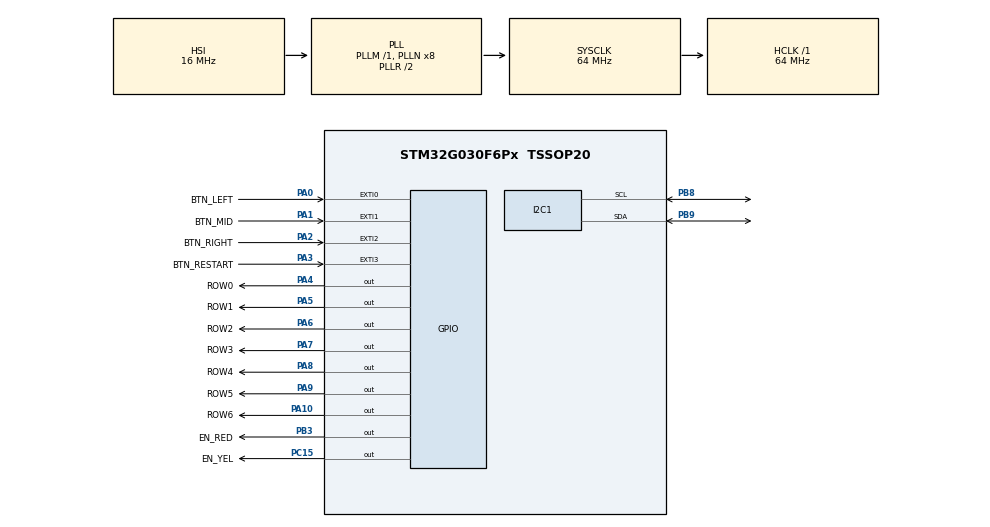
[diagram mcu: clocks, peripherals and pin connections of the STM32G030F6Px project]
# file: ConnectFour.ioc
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I2C1.Timing=0x10707DBC
Mcu.Family=STM32G0
Mcu.Name=STM32G030F6Px
Mcu.Package=TSSOP20
NVIC.EXTI0_1_IRQn=true\:0\:0\:false\:false\:true\:true\:true\:true
NVIC.EXTI2_3_IRQn=true\:0\:0\:false\:false\:true\:true\:true\:true
NVIC.TIM14_IRQn=true\:0\:0\:false\:false\:true\:true\:true\:true
PA0.GPIO_Label=BTN_LEFT
PA0.GPIO_ModeDefaultEXTI=GPIO_MODE_IT_FALLING
PA0.Signal=GPXTI0
PA1.GPIO_Label=BTN_MID
PA1.GPIO_ModeDefaultEXTI=GPIO_MODE_IT_FALLING
PA1.Signal=GPXTI1
PA10\ [PA12].GPIO_Label=ROW6
PA10\ [PA12].Signal=GPIO_Output
PA13.Mode=Serial_Wire
PA13.Signal=SYS_SWDIO
PA14-BOOT0.Mode=Serial_Wire
PA14-BOOT0.Signal=SYS_SWCLK
PA14-BOOT0__PA15.StandardMode=true
PA2.GPIO_Label=BTN_RIGHT
PA2.GPIO_ModeDefaultEXTI=GPIO_MODE_IT_FALLING
PA2.Signal=GPXTI2
PA3.GPIO_Label=BTN_RESTART
PA3.GPIO_ModeDefaultEXTI=GPIO_MODE_IT_FALLING
PA3.Signal=GPXTI3
PA4.GPIO_Label=ROW0
PA4.Signal=GPIO_Output
PA5.GPIO_Label=ROW1
PA5.Signal=GPIO_Output
PA6.GPIO_Label=ROW2
PA6.Signal=GPIO_Output
PA7.GPIO_Label=ROW3
PA7.Signal=GPIO_Output
PA8.GPIO_Label=ROW4
PA8.Signal=GPIO_Output
PA9\ [PA11].GPIO_Label=ROW5
PA9\ [PA11].Signal=GPIO_Output
PB0__PB1__PB2__PA8.StandardMode=true
PB3.GPIO_Label=EN_RED
PB3.GPIO_ModeDefaultOutputPP=GPIO_MODE_OUTPUT_OD
PB3.GPIO_PuPd=GPIO_PULLUP
PB3.PinState=GPIO_PIN_SET
PB3.Signal=GPIO_Output
PB3__PB4__PB5__PB6.StandardMode=true
PB7__PB8.StandardMode=true
PB8.Mode=I2C
PB8.Signal=I2C1_SCL
PB9.Mode=I2C
PB9.Signal=I2C1_SDA
PC14-OSC32_IN\ (PC14)__PB9.StandardMode=true
PC15-OSC32_OUT\ (PC15).GPIO_Label=EN_YEL
PC15-OSC32_OUT\ (PC15).GPIO_ModeDefaultOutputPP=GPIO_MODE_OUTPUT_OD
PC15-OSC32_OUT\ (PC15).GPIO_PuPd=GPIO_PULLUP
PC15-OSC32_OUT\ (PC15).PinState=GPIO_PIN_SET
PC15-OSC32_OUT\ (PC15).Signal=GPIO_Output
ProjectManager.HeapSize=0x200
ProjectManager.StackSize=0x400
ProjectManager.TargetToolchain=STM32CubeIDE
RCC.ADCFreq_Value=64000000
RCC.AHBFreq_Value=64000000
RCC.CortexFreq_Value=64000000
RCC.EXTERNAL_CLOCK_VALUE=12288000
RCC.HCLKFreq_Value=64000000
RCC.HSE_VALUE=8000000
RCC.HSI_VALUE=16000000
RCC.LSE_VALUE=32768
RCC.SYSCLKFreq_VALUE=64000000
RCC.SYSCLKSource=RCC_SYSCLKSOURCE_PLLCLK
RCC.VCOOutputFreq_Value=128000000
RCC.VDD_VALUE=2.5
TIM14.AutoReloadPreload=TIM_AUTORELOAD_PRELOAD_DISABLE
TIM14.Period=5 - 1
TIM14.Prescaler=6400 - 1
VP_SYS_VS_PINREMAP.Mode=PINREMAP
VP_SYS_VS_PINREMAP_10_12.Mode=PINREMAP_10_12
VP_TIM14_VS_ClockSourceINT.Mode=Enable_Timer
board=custom

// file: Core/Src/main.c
/* USER CODE BEGIN Header */
/**
  ******************************************************************************
  * @file           : main.c
  * @brief          : Main program body
  ******************************************************************************
  * @attention
  *
  * Copyright (c) 2023 STMicroelectronics.
  * All rights reserved.
  *
  * This software is licensed under terms that can be found in the LICENSE file
  * in the root directory of this software component.
  * If no LICENSE file comes with this software, it is provided AS-IS.
  *
  ******************************************************************************
  */
/* USER CODE END Header */
#include "main.h"

/* USER CODE BEGIN Includes */
#include <stdlib.h>

#include "string.h"
#include "font.h"
/* USER CODE END Includes */

/* USER CODE BEGIN PTD */
typedef enum : uint8_t {
    RED    = 0,
    YELLOW = 1
} Color;

typedef enum : uint8_t {
    LEFT    = 0b0001,
    MID     = 0b0010,
    RIGHT   = 0b0100,
    RESTART = 0b1000
} Button;

/* USER CODE END PTD */

/* USER CODE BEGIN PD */
#define LED_DRIVER_ADDRESS 0x8a
#define NUMBER_OF_ROWS 7
/* USER CODE END PD */

I2C_HandleTypeDef hi2c1;

TIM_HandleTypeDef htim14;

/* USER CODE BEGIN PV */
uint8_t matrix[2][NUMBER_OF_ROWS];

const uint16_t ROW[] = {
    ROW0_Pin,
    ROW1_Pin,
    ROW2_Pin,
    ROW3_Pin,
    ROW4_Pin,
    ROW5_Pin,
    ROW6_Pin
};

uint8_t buttonFlags = 0; // 0000 SRML (restart, right, mid, left)
/* USER CODE END PV */

void SystemClock_Config(void);
static void MX_GPIO_Init(void);
static void MX_I2C1_Init(void);
static void MX_TIM14_Init(void);
/* USER CODE BEGIN PFP */
void heartScroll(void);
void textScroll(const char* text);
int dropCoin(uint8_t matrix_buffer[][NUMBER_OF_ROWS], uint8_t currentPlayer);
void checkWinningCondition(uint8_t matrix_buffer[][NUMBER_OF_ROWS], uint8_t row, uint8_t location, Color currentPlayer);
void displayWinner(const uint8_t winning[NUMBER_OF_ROWS], Color currentPlayer);
/* USER CODE END PFP */

int main(void) {
    /* USER CODE BEGIN 1 */
    uint8_t matrix_buffer[2][NUMBER_OF_ROWS] = {0};
    Color currentPlayer = RED;
    /* USER CODE END 1 */

    /* MCU Configuration--------------------------------------------------------*/

    /* Reset of all peripherals, Initializes the Flash interface and the Systick. */
    HAL_Init();

    /* Configure the system clock */
    SystemClock_Config();

    /* USER CODE BEGIN SysInit */
    __enable_irq();
    /* USER CODE END SysInit */

    /* Initialize all configured peripherals */
    MX_GPIO_Init();
    MX_I2C1_Init();
    MX_TIM14_Init();
    /* USER CODE BEGIN 2 */
    HAL_TIM_Base_Start_IT(&htim14);

    matrix_buffer[currentPlayer][0] = 0b00001000;

    heartScroll();
    /* USER CODE END 2 */

    /* Infinite loop */
    /* USER CODE BEGIN WHILE */
#pragma clang diagnostic push
#pragma ide diagnostic ignored "EndlessLoop"
    while (1) {
        // LEFT BUTTON PRESSED
        if (buttonFlags & LEFT) {
            // shift the LED to the left
            matrix_buffer[currentPlayer][0] <<= 1;
            // account for the 8th bit
            if (matrix_buffer[currentPlayer][0] >= 0b10000000) matrix_buffer[currentPlayer][0] = 0b01000000;
            // reset flag
            buttonFlags ^= LEFT;
        }

        // RIGHT BUTTON PRESSED
        if (buttonFlags & RIGHT) {
            // shift the LED to the left
            matrix_buffer[currentPlayer][0] >>= 1;
            // account for the 8th bit
            if (matrix_buffer[currentPlayer][0] == 0) matrix_buffer[currentPlayer][0] = 0b00000001;
            // reset flag
            buttonFlags ^= RIGHT;
        }

        // MIDDLE BUTTON PRESSED
        if (buttonFlags & MID) {
            uint8_t location = matrix_buffer[currentPlayer][0];
            uint8_t row;

            if ((row = dropCoin(matrix_buffer, currentPlayer))) {
                checkWinningCondition(matrix_buffer, row, location, currentPlayer);
                // switch player
                currentPlayer ^= 1;
                matrix_buffer[currentPlayer][0] = 0b00001000;
            }
            // reset flag
            buttonFlags ^= MID;
        }

        // RESTART BUTTON PRESSED
        if (buttonFlags & RESTART) {
            // heartScroll();
            textScroll("Name");
            memset(matrix_buffer, 0, sizeof(matrix_buffer));
            // RED starts the game
            currentPlayer = RED;
            matrix_buffer[currentPlayer][0] = 0b00001000;
            // reset flag
            buttonFlags ^= RESTART;
        }

        memcpy(matrix, matrix_buffer, sizeof(matrix)); // send the new frame
        /* USER CODE END WHILE */

        /* USER CODE BEGIN 3 */
    }
#pragma clang diagnostic pop
    /* USER CODE END 3 */
}

void SystemClock_Config(void) {
    RCC_OscInitTypeDef RCC_OscInitStruct = {0};
    RCC_ClkInitTypeDef RCC_ClkInitStruct = {0};

    /** Configure the main internal regulator output voltage
    */
    HAL_PWREx_ControlVoltageScaling(PWR_REGULATOR_VOLTAGE_SCALE1);

    /** Initializes the RCC Oscillators according to the specified parameters
    * in the RCC_OscInitTypeDef structure.
    */
    RCC_OscInitStruct.OscillatorType = RCC_OSCILLATORTYPE_HSI;
    RCC_OscInitStruct.HSIState = RCC_HSI_ON;
    RCC_OscInitStruct.HSIDiv = RCC_HSI_DIV1;
    RCC_OscInitStruct.HSICalibrationValue = RCC_HSICALIBRATION_DEFAULT;
    RCC_OscInitStruct.PLL.PLLState = RCC_PLL_ON;
    RCC_OscInitStruct.PLL.PLLSource = RCC_PLLSOURCE_HSI;
    RCC_OscInitStruct.PLL.PLLM = RCC_PLLM_DIV1;
    RCC_OscInitStruct.PLL.PLLN = 8;
    RCC_OscInitStruct.PLL.PLLP = RCC_PLLP_DIV2;
    RCC_OscInitStruct.PLL.PLLR = RCC_PLLR_DIV2;
    if (HAL_RCC_OscConfig(&RCC_OscInitStruct) != HAL_OK) {
        Error_Handler();
    }

    /** Initializes the CPU, AHB and APB buses clocks
    */
    RCC_ClkInitStruct.ClockType = RCC_CLOCKTYPE_HCLK | RCC_CLOCKTYPE_SYSCLK
            | RCC_CLOCKTYPE_PCLK1;
    RCC_ClkInitStruct.SYSCLKSource = RCC_SYSCLKSOURCE_PLLCLK;
    RCC_ClkInitStruct.AHBCLKDivider = RCC_SYSCLK_DIV1;
    RCC_ClkInitStruct.APB1CLKDivider = RCC_HCLK_DIV1;

    if (HAL_RCC_ClockConfig(&RCC_ClkInitStruct, FLASH_LATENCY_2) != HAL_OK) {
        Error_Handler();
    }
}

static void MX_I2C1_Init(void) {

    hi2c1.Instance = I2C1;
    hi2c1.Init.Timing = 0x10707DBC;
    hi2c1.Init.OwnAddress1 = 0;
    hi2c1.Init.AddressingMode = I2C_ADDRESSINGMODE_7BIT;
    hi2c1.Init.DualAddressMode = I2C_DUALADDRESS_DISABLE;
    hi2c1.Init.OwnAddress2 = 0;
    hi2c1.Init.OwnAddress2Masks = I2C_OA2_NOMASK;
    hi2c1.Init.GeneralCallMode = I2C_GENERALCALL_DISABLE;
    hi2c1.Init.NoStretchMode = I2C_NOSTRETCH_DISABLE;
    if (HAL_I2C_Init(&hi2c1) != HAL_OK) {
        Error_Handler();
    }

    /** Configure Analogue filter
    */
    if (HAL_I2CEx_ConfigAnalogFilter(&hi2c1, I2C_ANALOGFILTER_ENABLE) != HAL_OK) {
        Error_Handler();
    }

    /** Configure Digital filter
    */
    if (HAL_I2CEx_ConfigDigitalFilter(&hi2c1, 0) != HAL_OK) {
        Error_Handler();
    }
}

static void MX_TIM14_Init(void) {

    htim14.Instance = TIM14;
    htim14.Init.Prescaler = 6400 - 1;
    htim14.Init.CounterMode = TIM_COUNTERMODE_UP;
    htim14.Init.Period = 5 - 1;
    htim14.Init.ClockDivision = TIM_CLOCKDIVISION_DIV1;
    htim14.Init.AutoReloadPreload = TIM_AUTORELOAD_PRELOAD_DISABLE;
    if (HAL_TIM_Base_Init(&htim14) != HAL_OK) {
        Error_Handler();
    }
}

static void MX_GPIO_Init(void) {
    GPIO_InitTypeDef GPIO_InitStruct = {0};

    /* GPIO Ports Clock Enable */
    __HAL_RCC_GPIOB_CLK_ENABLE();
    __HAL_RCC_GPIOC_CLK_ENABLE();
    __HAL_RCC_GPIOA_CLK_ENABLE();

    /*Configure GPIO pin Output Level */
    HAL_GPIO_WritePin(EN_YEL_GPIO_Port, EN_YEL_Pin, GPIO_PIN_SET);

    /*Configure GPIO pin Output Level */
    HAL_GPIO_WritePin(GPIOA, ROW0_Pin | ROW1_Pin | ROW2_Pin | ROW3_Pin
                      | ROW4_Pin | ROW5_Pin | ROW6_Pin, GPIO_PIN_RESET);

    /*Configure GPIO pin Output Level */
    HAL_GPIO_WritePin(EN_RED_GPIO_Port, EN_RED_Pin, GPIO_PIN_SET);

    /*Configure GPIO pin : EN_YEL_Pin */
    GPIO_InitStruct.Pin = EN_YEL_Pin;
    GPIO_InitStruct.Mode = GPIO_MODE_OUTPUT_OD;
    GPIO_InitStruct.Pull = GPIO_PULLUP;
    GPIO_InitStruct.Speed = GPIO_SPEED_FREQ_LOW;
    HAL_GPIO_Init(EN_YEL_GPIO_Port, &GPIO_InitStruct);

    /*Configure GPIO pins : BTN_LEFT_Pin BTN_MID_Pin BTN_RIGHT_Pin BTN_RESTART_Pin */
    GPIO_InitStruct.Pin = BTN_LEFT_Pin | BTN_MID_Pin | BTN_RIGHT_Pin | BTN_RESTART_Pin;
    GPIO_InitStruct.Mode = GPIO_MODE_IT_FALLING;
    GPIO_InitStruct.Pull = GPIO_NOPULL;
    HAL_GPIO_Init(GPIOA, &GPIO_InitStruct);

    /*Configure GPIO pins : ROW0_Pin ROW1_Pin ROW2_Pin ROW3_Pin
                             ROW4_Pin ROW5_Pin ROW6_Pin */
    GPIO_InitStruct.Pin = ROW0_Pin | ROW1_Pin | ROW2_Pin | ROW3_Pin
            | ROW4_Pin | ROW5_Pin | ROW6_Pin;
    GPIO_InitStruct.Mode = GPIO_MODE_OUTPUT_PP;
    GPIO_InitStruct.Pull = GPIO_NOPULL;
    GPIO_InitStruct.Speed = GPIO_SPEED_FREQ_LOW;
    HAL_GPIO_Init(GPIOA, &GPIO_InitStruct);

    /*Configure GPIO pin : EN_RED_Pin */
    GPIO_InitStruct.Pin = EN_RED_Pin;
    GPIO_InitStruct.Mode = GPIO_MODE_OUTPUT_OD;
    GPIO_InitStruct.Pull = GPIO_PULLUP;
    GPIO_InitStruct.Speed = GPIO_SPEED_FREQ_LOW;
    HAL_GPIO_Init(EN_RED_GPIO_Port, &GPIO_InitStruct);

    /* EXTI interrupt init*/
    HAL_NVIC_SetPriority(EXTI0_1_IRQn, 0, 0);
    HAL_NVIC_EnableIRQ(EXTI0_1_IRQn);

    HAL_NVIC_SetPriority(EXTI2_3_IRQn, 0, 0);
    HAL_NVIC_EnableIRQ(EXTI2_3_IRQn);

}

/* USER CODE BEGIN 4 */
void HAL_TIM_PeriodElapsedCallback(TIM_HandleTypeDef* htim) {
    if (htim->Instance == TIM14) {
        static int row = 0;
        static int prevRow = 0;
        static Color color = RED;

        HAL_GPIO_WritePin(GPIOA, ROW[prevRow], GPIO_PIN_SET);
        if (color == RED) {
            HAL_GPIO_WritePin(EN_YEL_GPIO_Port, EN_YEL_Pin, GPIO_PIN_RESET);
            HAL_GPIO_WritePin(EN_RED_GPIO_Port, EN_RED_Pin, GPIO_PIN_SET);
        } else {
            HAL_GPIO_WritePin(EN_RED_GPIO_Port, EN_RED_Pin, GPIO_PIN_RESET);
            HAL_GPIO_WritePin(EN_YEL_GPIO_Port, EN_YEL_Pin, GPIO_PIN_SET);
        }
        HAL_I2C_Mem_Write(&hi2c1, LED_DRIVER_ADDRESS, 0x02, 1,
                          &matrix[color][row], sizeof(matrix[color][row]), HAL_MAX_DELAY);
        HAL_GPIO_WritePin(GPIOA, ROW[row], GPIO_PIN_RESET);

        if (color == YELLOW) {
            prevRow = row;
            if (++row == NUMBER_OF_ROWS) row = 0; // reset the row counter
        }

        color ^= 1; // switches between red and yellow
    }
}

void HAL_GPIO_EXTI_Falling_Callback(uint16_t GPIO_Pin) {
    if (GPIO_Pin == BTN_RESTART_Pin) {
        buttonFlags |= RESTART;
    }

    if (GPIO_Pin == BTN_LEFT_Pin) {
        buttonFlags |= LEFT;
    }

    if (GPIO_Pin == BTN_RIGHT_Pin) {
        buttonFlags |= RIGHT;
    }

    if (GPIO_Pin == BTN_MID_Pin) {
        buttonFlags |= MID;
    }
}

void heartScroll() {
    uint8_t matrix_buffer[2][NUMBER_OF_ROWS];

    static const uint8_t heart[2][NUMBER_OF_ROWS] = {
        {
            0b00000000,
            0b00110110,
            0b01001001,
            0b01000001,
            0b00100010,
            0b00010100,
            0b00001000
        },
        {
            0b00000000,
            0b00000000,
            0b00110110,
            0b00111110,
            0b00011100,
            0b00001000,
            0b00000000
        }
    };

    for (int i = -7; i <= 7; i++) {
        for (int row = 0; row < NUMBER_OF_ROWS; row++) {
            if (i < 0) {
                matrix_buffer[RED][row] = (uint8_t) (heart[RED][row] << -i);
                matrix_buffer[YELLOW][row] = (uint8_t) (heart[YELLOW][row] << -i);
            } else {
                matrix_buffer[RED][row] = heart[RED][row] >> i;
                matrix_buffer[YELLOW][row] = heart[YELLOW][row] >> i;
            }
        }
        memcpy(matrix, matrix_buffer, sizeof(matrix));
        HAL_Delay(250);
    }
}

void textScroll(const char* text) {
    uint8_t matrix_buffer[NUMBER_OF_ROWS] = {0};
    memcpy(matrix[YELLOW], matrix_buffer, sizeof(matrix[RED]));

    int str_len = strlen(text);

    // loop over characters
    for (int i = 0; i < str_len; i++) {
        // loop over columns
        for (int j = 1; j < 8; j++) {
            // loop over rows
            for (int row = 0; row < NUMBER_OF_ROWS; row++) {
                matrix_buffer[row] <<= 1;
                matrix_buffer[row] |= (font[text[i] - ' '][row] >> (7 - j)) & 0x01;
            }
            memcpy(matrix[RED], matrix_buffer, sizeof(matrix[RED]));
            HAL_Delay(250);
        }
    }
    // loop over columns
    for (int i = 0; i < NUMBER_OF_ROWS; i++) {
        // loop over rows
        for (int row = 0; row < NUMBER_OF_ROWS; row++) {
            matrix_buffer[row] <<= 1;
        }
        memcpy(matrix[RED], matrix_buffer, sizeof(matrix[RED]));
        HAL_Delay(250);
    }
}

int dropCoin(uint8_t matrix_buffer[][7], Color currentPlayer) {
    int row = 0;
    uint8_t column = matrix_buffer[currentPlayer][row];

    while (row < 6 && !(column & (matrix_buffer[RED][row + 1] | matrix_buffer[YELLOW][row + 1]))) {
        // drop the coin one row
        matrix_buffer[currentPlayer][row + 1] |= column;
        // remove the coin from the previous row
        matrix_buffer[currentPlayer][row] &= (column ^ 0b01111111);
        // create drop animation
        HAL_Delay(200);
        memcpy(matrix, matrix_buffer, sizeof(matrix));
        // increment row
        row++;
    }
    // return 0 if the coin didn't drop
    return row;
}

void checkWinningCondition(uint8_t matrix_buffer[][NUMBER_OF_ROWS], uint8_t row, uint8_t location,
                           uint8_t currentPlayer) {
    uint8_t cur_row;
    uint8_t cur_location;
    uint8_t count;
    // check horizontal
    do {
        count = 0;
        uint8_t winner[NUMBER_OF_ROWS] = {0};
        // check left
        cur_row = row;
        cur_location = location;
        while (cur_location <= 0b01000000) {
            if (matrix_buffer[currentPlayer][cur_row] & cur_location) {
                winner[cur_row] |= cur_location;
                if (++count == 4) {
                    displayWinner(winner, currentPlayer);
                    return;
                }
                cur_location <<= 1;
            } else break;
        }
        // check right
        cur_location = location >> 1;
        while (cur_location >= 0b00000001) {
            if (matrix_buffer[currentPlayer][cur_row] & cur_location) {
                winner[cur_row] |= cur_location;
                if (++count == 4) {
                    displayWinner(winner, currentPlayer);
                    return;
                }
                cur_location >>= 1;
            } else break;
        }
    } while (0);

    // check vertical
    do {
        count = 0;
        uint8_t winner[NUMBER_OF_ROWS] = {0};
        // check up
        cur_row = row;
        cur_location = location;
        while (cur_row > 0) {
            if (matrix_buffer[currentPlayer][cur_row] & cur_location) {
                winner[cur_row] |= cur_location;
                if (++count == 4) {
                    displayWinner(winner, currentPlayer);
                    return;
                }
                cur_row--;
            } else break;
        }
        // check down
        cur_row = row + 1;
        while (cur_row < NUMBER_OF_ROWS) {
            if (matrix_buffer[currentPlayer][cur_row] & cur_location) {
                winner[cur_row] |= cur_location;
                if (++count == 4) {
                    displayWinner(winner, currentPlayer);
                    return;
                }
                cur_row++;
            } else break;
        }
    } while (0);

    // check diagonal /.
    do {
        count = 0;
        uint8_t winner[NUMBER_OF_ROWS] = {0};
        // check up right
        cur_row = row;
        cur_location = location;
        while ((cur_location >= 0b00000001) && (cur_row > 0)) {
            if (matrix_buffer[currentPlayer][cur_row] & cur_location) {
                winner[cur_row] |= cur_location;
                if (++count == 4) {
                    displayWinner(winner, currentPlayer);
                    return;
                }
                cur_row--;
                cur_location >>= 1;
            } else break;
        }
        // check down left
        cur_row = row + 1;
        cur_location = location << 1;
        while ((cur_location <= 0b01000000) && (cur_row < NUMBER_OF_ROWS)) {
            if (matrix_buffer[currentPlayer][cur_row] & cur_location) {
                winner[cur_row] |= cur_location;
                if (++count == 4) {
                    displayWinner(winner, currentPlayer);
                    return;
                }
                cur_row++;
                cur_location <<= 1;
            } else break;
        }
    } while (0);

    // check diagonal \.
    do {
        count = 0;
        uint8_t winner[NUMBER_OF_ROWS] = {0};
        // check down right
        cur_row = row;
        cur_location = location;
        while ((cur_location >= 0b00000001) && (cur_row < NUMBER_OF_ROWS)) {
            if (matrix_buffer[currentPlayer][cur_row] & cur_location) {
                winner[cur_row] |= cur_location;
                if (++count == 4) {
                    displayWinner(winner, currentPlayer);
                    return;
                }
                cur_row++;
                cur_location >>= 1;
            } else break;
        }
        // check up left
        cur_row = row - 1;
        cur_location = location << 1;
        while ((cur_location <= 0b01000000) && (cur_row > 0)) {
            if (matrix_buffer[currentPlayer][cur_row] & cur_location) {
                winner[cur_row] |= cur_location;
                if (++count == 4) {
                    displayWinner(winner, currentPlayer);
                    return;
                }
                cur_row--;
                cur_location <<= 1;
            } else break;
        }
    } while (0);
}

void displayWinner(const uint8_t* winning, Color currentPlayer) {
    for (int i = 0; i < 10; i++) {
        for (int r = 0; r < NUMBER_OF_ROWS; r++) {
            matrix[currentPlayer][r] ^= winning[r];
        }
        HAL_Delay(500);
    }
    buttonFlags |= RESTART;
}

/* USER CODE END 4 */

void Error_Handler(void) {
    /* USER CODE BEGIN Error_Handler_Debug */
    /* User can add his own implementation to report the HAL error return state */
    __disable_irq();
#pragma clang diagnostic push
#pragma ide diagnostic ignored "EndlessLoop"
    while (1) {
        //
    }
#pragma clang diagnostic pop
    /* USER CODE END Error_Handler_Debug */
}
